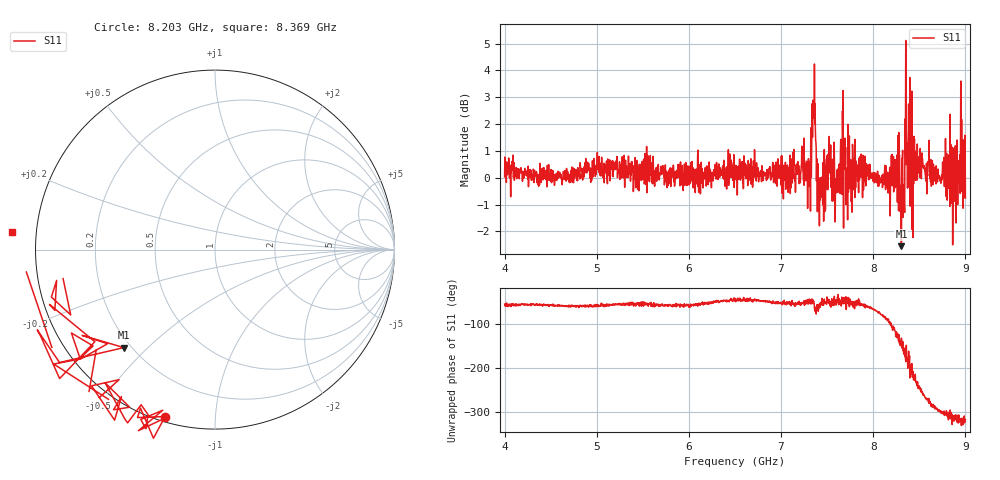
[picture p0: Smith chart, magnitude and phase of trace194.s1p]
! Created with skrf 1.8.0 (http://scikit-rf.org).
# Hz S RI R 50.0
!freq ReS11 ImS11
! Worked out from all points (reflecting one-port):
!   1601 points, 4 GHz to 9 GHz, reference 50 ohm
!   lowest |S11| = -2.6 dB at 8.306 GHz (marker M1), VSWR 6.86, Z = 8.64 - j21.2 ohm
!   phase of S11 starts at -56 deg and turns -261 deg over the sweep
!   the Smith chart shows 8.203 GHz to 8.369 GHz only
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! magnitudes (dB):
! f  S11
! 4 GHz  0.0
! 4.625 GHz  -0.3
! 5.25 GHz  -0.1
! 5.875 GHz  0.2
! 6.5 GHz  0.4
! 7.125 GHz  0.1
! 7.241 GHz  0.2
! 7.294 GHz  0.2
! 7.356 GHz  2.4
! 7.397 GHz  -0.4
! 7.416 GHz  -1.8
! 7.438 GHz  -0.7
! 7.512 GHz  0.9
! 7.609 GHz  0.1
! 7.669 GHz  1.6
! 7.7 GHz  1.1
! 7.75 GHz  -0.4
! 8.169 GHz  -0.4
! 8.262 GHz  -0.9
! 8.306 GHz  -2.6
! 8.316 GHz  0.7
! 8.334 GHz  -0.5
! 8.375 GHz  0.9
! 8.425 GHz  0.0
! 8.459 GHz  -0.1
! 8.881 GHz  -0.9
! 8.972 GHz  0.4
! 9 GHz  -0.8
